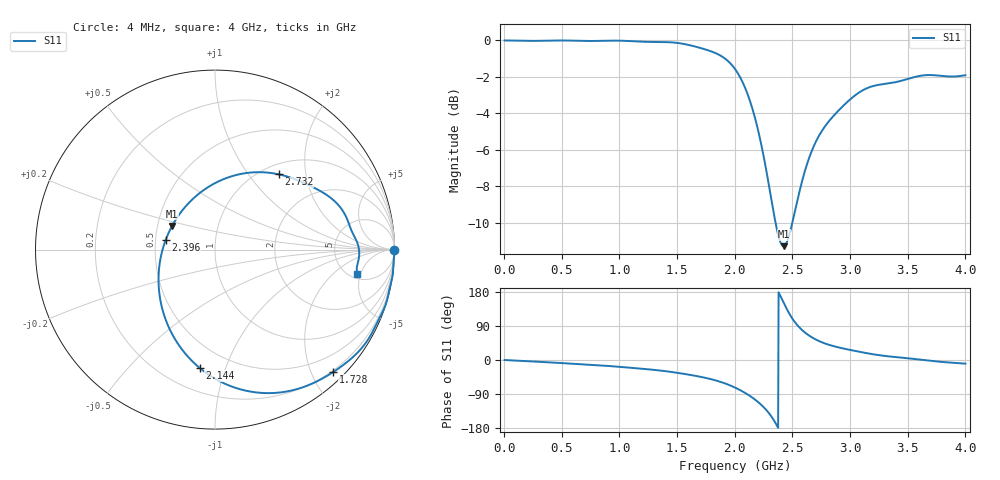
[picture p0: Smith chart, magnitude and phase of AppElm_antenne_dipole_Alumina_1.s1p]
! TOUCHSTONE file generated by CST MICROWAVE STUDIO
! Date and time: Sat May 14 10:02:53 2022
! Project name: AppElm_antenne_dipole_Alumina.cst
! Parameters = {L=33; e=0.035; f=2.45e+09; h=1.6; i=0.6; l1=2; lambda=122.449; ls=30; wl=1.7; ws=80}
! Header version: 2018
! Port assignment regex: !\s*Touchstone port\s*([0-9]+)\s*=\s*(CST MWS port|CST DS port)\s*([0-9]+|Zmin|Zmax)\s*\(\"(.*)\"\)(\s*mode\s*([0-9]+))?.*
! Touchstone port assignment:
! Touchstone port 1 = CST MWS port 1 ("")
# GHz S MA R 50
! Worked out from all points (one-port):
!   1000 points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, 4 MHz to 4 GHz, reference 50 ohm
!   lowest |S11| = -11.3 dB at 2.424 GHz (marker M1), VSWR 1.75, Z = 29.8 + j8.46 ohm
!   |S11| at or under -10 dB: 2.354 GHz to 2.499 GHz (144.7 MHz wide, 5.96 % of centre)
!   S11 on the Smith chart (normalised r, x): 4 MHz: open; 1.728 GHz: 0.17, -2.35; 2.144 GHz: 0.35, -0.82; 2.396 GHz: 0.57, +0.07; 2.732 GHz: 1.18, +1.42; 4 GHz: 5.77, -4.37
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0.004  1 -0.1
0.504  1 -8.2
1.004  0.9986 -18.1
1.332  0.9904 -27.1
1.504  0.9844 -33.9
1.728  0.9484 -45.9
1.872  0.9106 -57.3
1.936  0.8812 -64.2
2.004  0.8335 -73.0
2.076  0.7589 -84.4
2.144  0.6643 -97.5
2.216  0.5433 -114.5
2.276  0.4359 -132.8
2.336  0.3393 -157.5
2.396  0.28 168.9
2.424  0.2731 151.2
2.46  0.2847 129.5
2.504  0.3216 107.2
2.556  0.3796 87.3
2.608  0.4386 72.7
2.664  0.4947 60.7
2.732  0.5493 49.8
2.844  0.615 37.6
3.004  0.6909 26.3
3.192  0.7488 15.5
3.504  0.7851 4.5
3.764  0.8015 -4.2
4  0.803 -9.6
